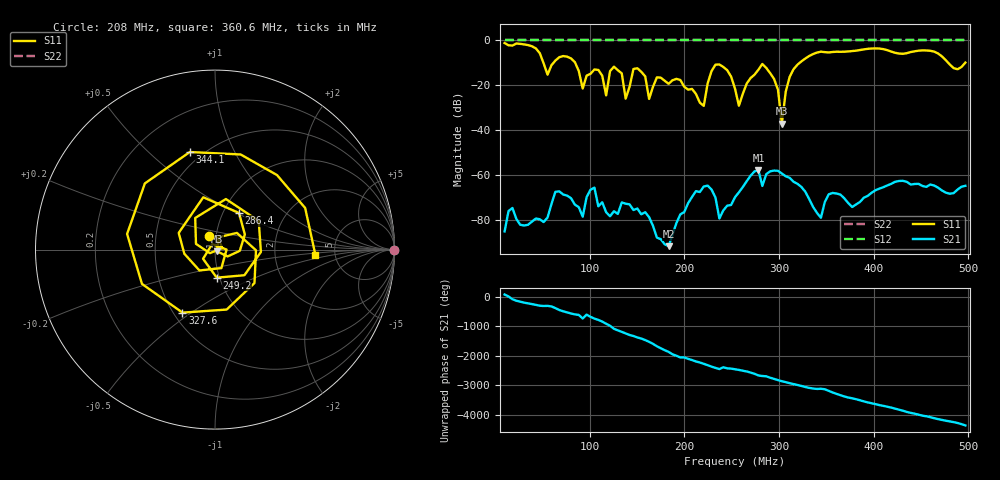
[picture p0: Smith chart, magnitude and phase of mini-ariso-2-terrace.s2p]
! Anritsu VNA Master:  Model: MS2024B
! SN:  2417009
! /card0/usr/mini-ariso-2-terrace.s2p
! Existing Calibration Information:
! TYPE:  Current Settings,  Active Cal Settings
! TIME:  09/07/2026 01:13:48 AM,  09/07/2026 01:10:48 AM
! INTERNAL TEMP:  49.3 C,  47.5 C
! # POINTS:  119,  119
! START FREQ:  10.000 MHz,  10.000 MHz
! STOP FREQ:  496.750 MHz,  496.750 MHz
! SOURCE POWER:  Default,  Default
! IFBW:  1 kHz,  1 kHz
! AVG FACTOR:  16 ,  16
! REF PLANE 1:  0 mm,  0 mm
! REF PLANE 2:  0 mm,  0 mm
! CAL TYPE:  1P2P S11,S21,  1P2P S11,S21
! CAL METHOD:  SOLT,  SOLT
! CAL LINE TYPE:  Coax,  Coax
! DUT PORT 1:  N-Conn(M),  N-Conn(M)
! DUT PORT 2:  N-Conn(M),  N-Conn(M)
! CAL STATUS:  OK: Accuracy High,  --
# GHZ S DB R 50.0
! FREQ.GHZ  S11DB  S11A  S21DB  S21A  S12DB  S12A  S22DB  S22A
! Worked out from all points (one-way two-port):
!   119 points, 10 MHz to 496.8 MHz, reference 50 ohm
!   highest |S21| = -57.95 dB at 278.1 MHz (marker M1); lowest = -91.8 dB at 183.2 MHz (marker M2)
!   lowest |S11| = -37.1 dB at 302.9 MHz (marker M3), VSWR 1.03, Z = 51.1 - j0.93 ohm
!   |S11| at or under -10 dB: 51.02 MHz to 61.6 MHz (10.58 MHz wide, 18.8 % of centre); 84.58 MHz to 321.7 MHz (237.1 MHz wide, 117 % of centre); 478.7 MHz to 496.5 MHz (17.84 MHz wide, 3.66 % of centre)
!   |S22| runs from 0.0 to 0.0 dB; largest |S21 - S12| = 1
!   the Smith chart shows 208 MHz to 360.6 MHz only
!   S11 on the Smith chart (normalised r, x): 208 MHz: 0.92, +0.14; 249.2 MHz: 0.97, -0.31; 286.4 MHz: 1.19, +0.52; 327.6 MHz: 0.56, -0.46; 344.1 MHz: 0.43, +0.68; 360.6 MHz: 3.52, -0.30
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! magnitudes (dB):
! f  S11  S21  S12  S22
! 10 MHz  -1.2  -85.2  0.0  0.0
! 67.75 MHz  -7.5  -67.4  0.0  0.0
! 92.5 MHz  -21.5  -78.7  0.0  0.0
! 104.9 MHz  -12.9  -65.7  0.0  0.0
! 137.9 MHz  -26.0  -72.8  0.0  0.0
! 146.1 MHz  -12.7  -75.7  0.0  0.0
! 162.6 MHz  -26.1  -78.9  0.0  0.0
! 175 MHz  -16.6  -88.7  0.0  0.0
! 183.2 MHz  -19.3  -91.8  0.0  0.0
! 208 MHz  -21.6  -69.8  0.0  0.0
! 249.2 MHz  -16.1  -73.4  0.0  0.0
! 253.4 MHz  -21.5  -70.0  0.0  0.0
! 278.1 MHz  -13.0  -58.0  0.0  0.0
! 286.4 MHz  -12.3  -59.7  0.0  0.0
! 302.9 MHz  -37.1  -59.4  0.0  0.0
! 311.1 MHz  -16.3  -61.3  0.0  0.0
! 327.6 MHz  -8.1  -67.5  0.0  0.0
! 335.9 MHz  -6.1  -74.3  0.0  0.0
! 344.1 MHz  -5.0  -79.1  0.0  0.0
! 360.6 MHz  -5.0  -68.3  0.0  0.0
! 418.4 MHz  -5.0  -64.0  0.0  0.0
! 496.8 MHz  -9.9  -64.9  0.0  0.0
